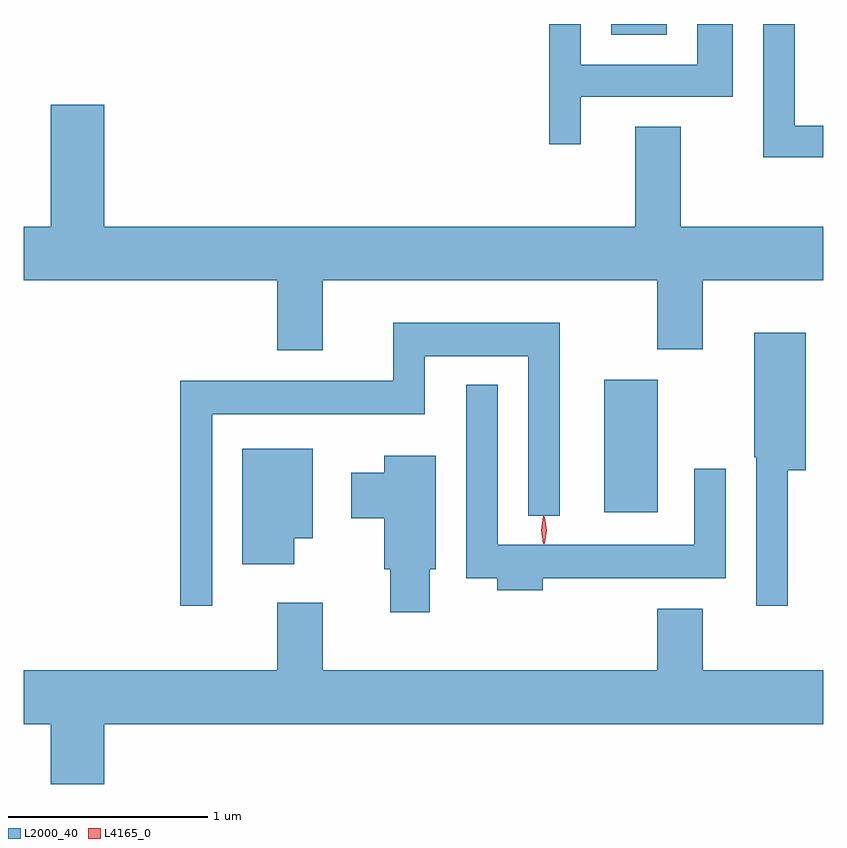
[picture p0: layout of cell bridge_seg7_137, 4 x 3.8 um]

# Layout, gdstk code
import gdstk
lib = gdstk.Library(unit=1e-6, precision=1e-09)
def R(c, l, rs):  # rectangles x0, y0, x1, y1
    for r in rs: c.add(gdstk.rectangle(r[:2], r[2:], *l))
def P(c, l, *ps):  # polygons
    for p in ps: c.add(gdstk.Polygon(p, *l))
L2000_40 = (2000, 40)
L4165_0 = (4165, 0)

bridge_seg7_137 = lib.new_cell('bridge_seg7_137')
R(bridge_seg7_137, L2000_40, [(1476.586,1735.356,1476.854,1736.019), (1476.621,1737.746,1476.899,1737.799)])
P(bridge_seg7_137, L2000_40, [(1477.682,1737.289),(1477.539,1737.289),(1477.539,1737.799),(1477.381,1737.799),(1477.381,1737.131),(1477.682,1737.131)],
  [(1476.469,1737.436),(1477.229,1737.436),(1477.229,1737.799),(1477.051,1737.799),(1477.051,1737.594),(1476.469,1737.594),(1476.469,1737.799),(1476.311,1737.799),(1476.311,1737.198),(1476.469,1737.198)],
  [(1475.179,1736.516),(1476.851,1736.516),(1476.851,1736.171),(1477.079,1736.171),(1477.079,1736.516),(1477.682,1736.516),(1477.682,1736.784),(1476.969,1736.784),(1476.969,1737.284),(1476.741,1737.284),(1476.741,1736.784),(1474.084,1736.784),(1474.084,1737.394),(1473.816,1737.394),(1473.816,1736.784),(1473.682,1736.784),(1473.682,1736.516),(1474.951,1736.516),(1474.951,1736.166),(1475.179,1736.166)],
  [(1474.624,1735.846),(1475.689,1735.846),(1475.689,1736.136),(1476.206,1736.136),(1476.206,1735.338),(1476.364,1735.338),(1476.364,1736.304),(1475.531,1736.304),(1475.531,1736.014),(1474.466,1736.014),(1474.466,1734.888),(1474.624,1734.888)],
  [(1477.504,1735.566),(1477.594,1735.566),(1477.594,1736.254),(1477.336,1736.254),(1477.336,1735.63),(1477.346,1735.63),(1477.346,1734.888),(1477.504,1734.888)],
  [(1476.279,1735.026),(1477.194,1735.026),(1477.194,1735.573),(1477.036,1735.573),(1477.036,1735.194),(1476.054,1735.194),(1476.054,1735.993),(1475.896,1735.993),(1475.896,1735.026),(1476.051,1735.026),(1476.051,1734.966),(1476.279,1734.966)],
  [(1475.034,1735.226),(1475.129,1735.226),(1475.129,1735.674),(1474.776,1735.674),(1474.776,1735.096),(1475.034,1735.096)],
  [(1475.714,1735.071),(1475.744,1735.071),(1475.744,1735.639),(1475.486,1735.639),(1475.486,1735.554),(1475.321,1735.554),(1475.321,1735.326),(1475.486,1735.326),(1475.486,1735.071),(1475.516,1735.071),(1475.516,1734.856),(1475.714,1734.856)],
  [(1473.682,1734.296),(1473.816,1734.296),(1473.816,1733.996),(1474.084,1733.996),(1474.084,1734.296),(1477.682,1734.296),(1477.682,1734.564),(1477.079,1734.564),(1477.079,1734.874),(1476.851,1734.874),(1476.851,1734.564),(1475.179,1734.564),(1475.179,1734.904),(1474.951,1734.904),(1474.951,1734.564),(1473.682,1734.564)])
P(bridge_seg7_137, L4165_0, [(1476.288,1735.199),(1476.287,1735.2),(1476.278,1735.266),(1476.287,1735.332),(1476.288,1735.333),(1476.288,1735.332),(1476.298,1735.266),(1476.288,1735.2)],
  [(1476.282,1735.197),(1476.282,1735.197),(1476.272,1735.267),(1476.282,1735.336),(1476.282,1735.336),(1476.283,1735.336),(1476.292,1735.267),(1476.283,1735.197)])

lib.write_gds('bridge_seg7_137.gds')
